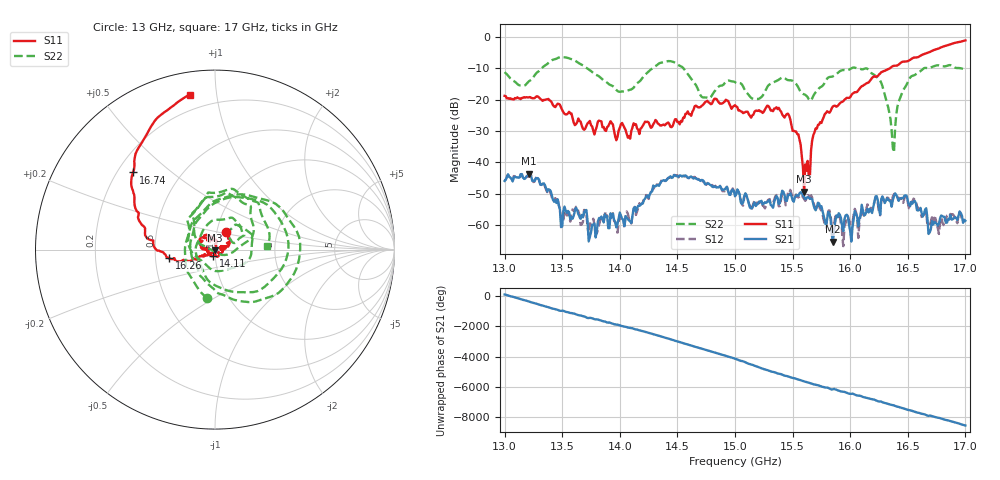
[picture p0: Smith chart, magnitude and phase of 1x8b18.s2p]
!Keysight Technologies,P9374A,MY57211807,A.19.30.04
!Date: Friday, May 08, 2026 14:25:28
!Correction: S11(C  2-Port  )
!S21(C  2-Port  )
!S12(C  2-Port  )
!S22(C  2-Port  )
!S2P File: Measurements: S11, S21, S12, S22:
# Hz S  dB  R 50
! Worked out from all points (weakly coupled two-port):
!   401 points, 13 GHz to 17 GHz, reference 50 ohm
!   highest |S21| = -43.56 dB at 13.21 GHz (marker M1); lowest = -65.2 dB at 15.85 GHz (marker M2)
!   lowest |S11| = -49.3 dB at 15.6 GHz (marker M3), VSWR 1.01, Z = 50.1 - j0.314 ohm
!   |S11| at or under -10 dB: start of sweep to 16.34 GHz
!   |S22| runs from -36.8 to -6.4 dB; largest |S21 - S12| = 0.00057
!   S11 on the Smith chart (normalised r, x): 13 GHz: 1.11, +0.22; 14.11 GHz: 0.98, -0.07; 16.26 GHz: 0.59, -0.06; 16.74 GHz: 0.26, +0.37; 17 GHz: 0.11, +0.84
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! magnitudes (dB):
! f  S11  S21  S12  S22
! 13 GHz  -18.8  -45.9  -45.8  -11.3
! 13.21 GHz  -19.3  -43.6  -43.8  -14.2
! 13.49 GHz  -22.5  -60.6  -58.0  -6.4
! 13.67 GHz  -28.3  -56.7  -59.7  -8.9
! 13.75 GHz  -28.2  -62.3  -59.6  -10.9
! 14.11 GHz  -28.8  -57.0  -57.1  -16.5
! 14.34 GHz  -27.8  -47.5  -47.2  -8.5
! 14.73 GHz  -21.4  -46.0  -46.2  -19.3
! 15 GHz  -21.8  -50.8  -50.3  -14.4
! 15.19 GHz  -23.5  -53.5  -52.8  -19.8
! 15.46 GHz  -24.5  -50.5  -49.6  -13.8
! 15.55 GHz  -31.1  -50.6  -51.2  -16.2
! 15.6 GHz  -49.3  -51.0  -51.6  -18.3
! 15.67 GHz  -33.0  -51.7  -51.2  -19.6
! 15.85 GHz  -22.2  -65.2  -62.3  -12.6
! 16.26 GHz  -11.7  -56.6  -56.9  -13.9
! 16.34 GHz  -10.1  -52.2  -52.1  -24.2
! 16.38 GHz  -9.2  -50.8  -50.2  -36.8
! 16.43 GHz  -8.5  -51.6  -51.3  -19.8
! 16.51 GHz  -7.6  -53.5  -54.6  -13.7
! 16.74 GHz  -4.0  -59.3  -57.8  -9.2
! 17 GHz  -1.2  -58.6  -58.3  -10.7
